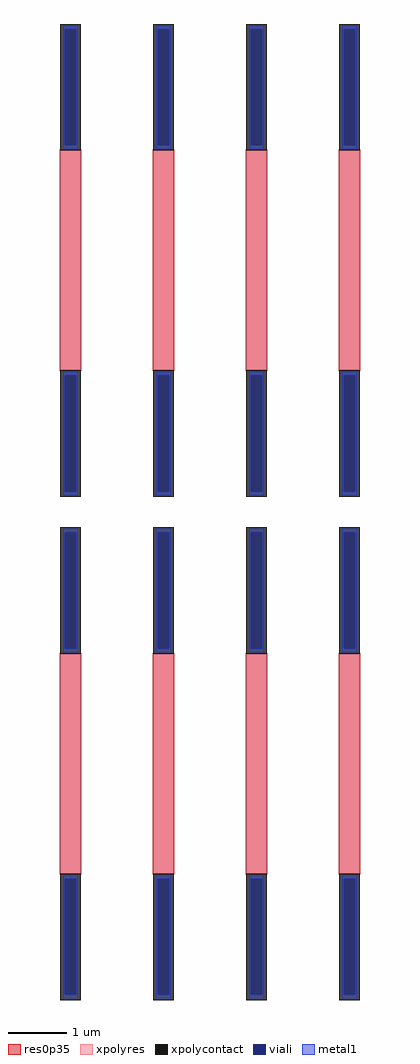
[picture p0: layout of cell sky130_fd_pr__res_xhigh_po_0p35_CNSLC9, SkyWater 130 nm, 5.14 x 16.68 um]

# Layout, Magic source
magic
tech sky130A
magscale 1 2
<< xpolycontact >>
rect -512 1236 -442 1668
rect -512 52 -442 484
rect -194 1236 -124 1668
rect -194 52 -124 484
rect 124 1236 194 1668
rect 124 52 194 484
rect 442 1236 512 1668
rect 442 52 512 484
rect -512 -484 -442 -52
rect -512 -1668 -442 -1236
rect -194 -484 -124 -52
rect -194 -1668 -124 -1236
rect 124 -484 194 -52
rect 124 -1668 194 -1236
rect 442 -484 512 -52
rect 442 -1668 512 -1236
<< xpolyres >>
rect -512 484 -442 1236
rect -194 484 -124 1236
rect 124 484 194 1236
rect 442 484 512 1236
rect -512 -1236 -442 -484
rect -194 -1236 -124 -484
rect 124 -1236 194 -484
rect 442 -1236 512 -484
<< viali >>
rect -496 1253 -458 1650
rect -178 1253 -140 1650
rect 140 1253 178 1650
rect 458 1253 496 1650
rect -496 70 -458 467
rect -178 70 -140 467
rect 140 70 178 467
rect 458 70 496 467
rect -496 -467 -458 -70
rect -178 -467 -140 -70
rect 140 -467 178 -70
rect 458 -467 496 -70
rect -496 -1650 -458 -1253
rect -178 -1650 -140 -1253
rect 140 -1650 178 -1253
rect 458 -1650 496 -1253
<< metal1 >>
rect -502 1650 -452 1662
rect -502 1253 -496 1650
rect -458 1253 -452 1650
rect -502 1241 -452 1253
rect -184 1650 -134 1662
rect -184 1253 -178 1650
rect -140 1253 -134 1650
rect -184 1241 -134 1253
rect 134 1650 184 1662
rect 134 1253 140 1650
rect 178 1253 184 1650
rect 134 1241 184 1253
rect 452 1650 502 1662
rect 452 1253 458 1650
rect 496 1253 502 1650
rect 452 1241 502 1253
rect -502 467 -452 479
rect -502 70 -496 467
rect -458 70 -452 467
rect -502 58 -452 70
rect -184 467 -134 479
rect -184 70 -178 467
rect -140 70 -134 467
rect -184 58 -134 70
rect 134 467 184 479
rect 134 70 140 467
rect 178 70 184 467
rect 134 58 184 70
rect 452 467 502 479
rect 452 70 458 467
rect 496 70 502 467
rect 452 58 502 70
rect -502 -70 -452 -58
rect -502 -467 -496 -70
rect -458 -467 -452 -70
rect -502 -479 -452 -467
rect -184 -70 -134 -58
rect -184 -467 -178 -70
rect -140 -467 -134 -70
rect -184 -479 -134 -467
rect 134 -70 184 -58
rect 134 -467 140 -70
rect 178 -467 184 -70
rect 134 -479 184 -467
rect 452 -70 502 -58
rect 452 -467 458 -70
rect 496 -467 502 -70
rect 452 -479 502 -467
rect -502 -1253 -452 -1241
rect -502 -1650 -496 -1253
rect -458 -1650 -452 -1253
rect -502 -1662 -452 -1650
rect -184 -1253 -134 -1241
rect -184 -1650 -178 -1253
rect -140 -1650 -134 -1253
rect -184 -1662 -134 -1650
rect 134 -1253 184 -1241
rect 134 -1650 140 -1253
rect 178 -1650 184 -1253
rect 134 -1662 184 -1650
rect 452 -1253 502 -1241
rect 452 -1650 458 -1253
rect 496 -1650 502 -1253
rect 452 -1662 502 -1650
<< res0p35 >>
rect -514 482 -440 1238
rect -196 482 -122 1238
rect 122 482 196 1238
rect 440 482 514 1238
rect -514 -1238 -440 -482
rect -196 -1238 -122 -482
rect 122 -1238 196 -482
rect 440 -1238 514 -482
<< properties >>
string gencell sky130_fd_pr__res_xhigh_po_0p35
string parameters w 0.350 l 3.763 m 2 nx 4 wmin 0.350 lmin 0.50 rho 2000 val 22.188k dummy 0 dw 0.0 term 120 sterm 0.0 caplen 0 wmax 0.350 guard 0 glc 1 grc 1 gtc 1 gbc 1 compatible {sky130_fd_pr__res_xhigh_po_0p35  sky130_fd_pr__res_xhigh_po_0p69 sky130_fd_pr__res_xhigh_po_1p41  sky130_fd_pr__res_xhigh_po_2p85 sky130_fd_pr__res_xhigh_po_5p73} full_metal 1 vias 1 viagb 0 viagt 0 viagl 0 viagr 0
string library sky130
<< end >>
